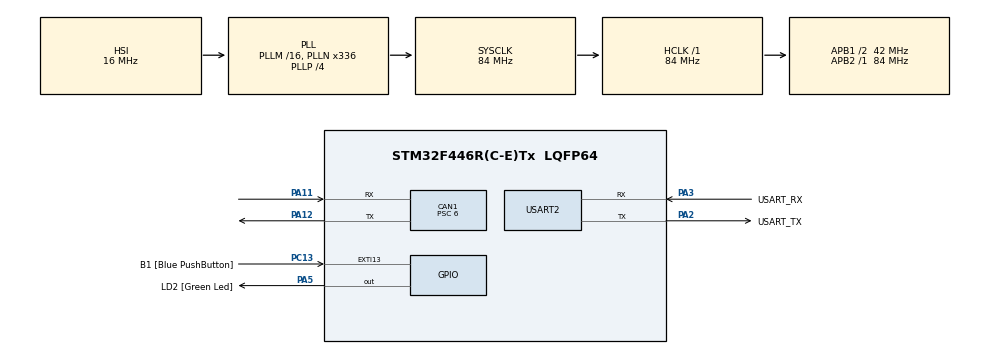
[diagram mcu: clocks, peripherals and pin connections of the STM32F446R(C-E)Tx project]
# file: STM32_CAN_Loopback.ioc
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CAN1.BS1=CAN_BS1_11TQ
CAN1.BS2=CAN_BS2_2TQ
CAN1.CalculateBaudRate=500000
CAN1.CalculateTimeBit=2000
CAN1.CalculateTimeQuantum=142.85714285714286
CAN1.Mode=CAN_MODE_LOOPBACK
CAN1.NART=DISABLE
CAN1.Prescaler=6
Mcu.Family=STM32F4
Mcu.Name=STM32F446R(C-E)Tx
Mcu.Package=LQFP64
NVIC.CAN1_RX0_IRQn=true\:0\:0\:false\:false\:true\:true\:true\:true
NVIC.PriorityGroup=NVIC_PRIORITYGROUP_0
PA11.GPIO_PuPd=GPIO_PULLUP
PA11.Mode=CAN_Activate
PA11.Signal=CAN1_RX
PA12.GPIO_PuPd=GPIO_PULLUP
PA12.Mode=CAN_Activate
PA12.Signal=CAN1_TX
PA13.GPIO_Label=TMS
PA13.Mode=Serial_Wire
PA13.Signal=SYS_JTMS-SWDIO
PA14.GPIO_Label=TCK
PA14.Mode=Serial_Wire
PA14.Signal=SYS_JTCK-SWCLK
PA2.GPIO_Label=USART_TX
PA2.Mode=Asynchronous
PA2.Signal=USART2_TX
PA3.GPIO_Label=USART_RX
PA3.Mode=Asynchronous
PA3.Signal=USART2_RX
PA5.GPIO_Label=LD2 [Green Led]
PA5.Signal=GPIO_Output
PB3.GPIO_Label=SWO
PB3.Signal=SYS_JTDO-SWO
PC13.GPIO_Label=B1 [Blue PushButton]
PC13.GPIO_ModeDefaultEXTI=GPIO_MODE_IT_FALLING
PC13.Signal=GPXTI13
PC14-OSC32_IN.Mode=LSE-External-Oscillator
PC14-OSC32_IN.Signal=RCC_OSC32_IN
PC15-OSC32_OUT.Mode=LSE-External-Oscillator
PC15-OSC32_OUT.Signal=RCC_OSC32_OUT
PH0-OSC_IN.Mode=HSE-External-Oscillator
PH0-OSC_IN.Signal=RCC_OSC_IN
PH1-OSC_OUT.Mode=HSE-External-Oscillator
PH1-OSC_OUT.Signal=RCC_OSC_OUT
ProjectManager.HeapSize=0x200
ProjectManager.StackSize=0x400
ProjectManager.TargetToolchain=STM32CubeIDE
RCC.48MHZClocksFreq_Value=84000000
RCC.AHBFreq_Value=84000000
RCC.APB1CLKDivider=RCC_HCLK_DIV2
RCC.APB1Freq_Value=42000000
RCC.APB1TimFreq_Value=84000000
RCC.APB2Freq_Value=84000000
RCC.APB2TimFreq_Value=84000000
RCC.CortexFreq_Value=84000000
RCC.FLatency-AdvancedSettings=FLASH_LATENCY_2
RCC.HCLKFreq_Value=84000000
RCC.HSE_VALUE=8000000
RCC.HSI_VALUE=16000000
RCC.PLLN=336
RCC.PLLP=RCC_PLLP_DIV4
RCC.SYSCLKFreq_VALUE=84000000
RCC.SYSCLKSource=RCC_SYSCLKSOURCE_PLLCLK
RCC.USBFreq_Value=168000000
RCC.VCOOutputFreq_Value=336000000
USART2.VirtualMode=VM_ASYNC
board=NUCLEO-F446RE

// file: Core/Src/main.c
/* USER CODE BEGIN Header */
/**
  ******************************************************************************
  * @file           : main.c
  * @brief          : Main program body
  ******************************************************************************
  * @attention
  *
  * Copyright (c) 2026 STMicroelectronics.
  * All rights reserved.
  *
  * This software is licensed under terms that can be found in the LICENSE file
  * in the root directory of this software component.
  * If no LICENSE file comes with this software, it is provided AS-IS.
  *
  ******************************************************************************
  */
/* USER CODE END Header */
#include "main.h"

CAN_HandleTypeDef hcan1;

UART_HandleTypeDef huart2;

/* USER CODE BEGIN PV */

/* PREPARATION DE LA TRAME CAN */
CAN_TxHeaderTypeDef TxHeader;		// EN-TETE DE LA TRAME Tx
//CAN_RxHeaderTypeDef RxHeader;		// EN-TETE DE LA TRAME Rx

uint8_t TxData[8] = {
    0x10, 0x20, 0x30, 0x40,
    0x50, 0x60, 0x70, 0x80
};
//uint8_t RxData[8];

uint32_t TxMailbox;

//volatile uint32_t RxInterruptCount = 0;
//volatile uint8_t rxMessageReady = 0;

/* CIRCULAR QUEUE */
#define CAN_RX_QUEUE_SIZE 8

typedef struct
{
	CAN_RxHeaderTypeDef Header;
	uint8_t Data[8];
} CAN_Message_t;

CAN_Message_t RxQueue[CAN_RX_QUEUE_SIZE];

volatile uint8_t RxQueueHead = 0;
volatile uint8_t RxQueueTail = 0;

/* USER CODE END PV */

void SystemClock_Config(void);
static void MX_GPIO_Init(void);
static void MX_USART2_UART_Init(void);
static void MX_CAN1_Init(void);

int main(void)
{

  /* MCU Configuration--------------------------------------------------------*/

  /* Reset of all peripherals, Initializes the Flash interface and the Systick. */
  HAL_Init();

  /* Configure the system clock */
  SystemClock_Config();

  /* Initialize all configured peripherals */
  MX_GPIO_Init();
  MX_USART2_UART_Init();
  MX_CAN1_Init();
  /* USER CODE BEGIN 2 */

  if (HAL_CAN_Start(&hcan1) != HAL_OK)
  {
      Error_Handler();
  }

  /* INTERUPTION METHODE - MSG RECEPTION NOTIFICATION */
  if (HAL_CAN_ActivateNotification(&hcan1,
                                   CAN_IT_RX_FIFO0_MSG_PENDING) != HAL_OK)
  {
      Error_Handler();
  }

  /* TRANSMITION CONFIG */
  TxHeader.StdId = 0x123;
  TxHeader.ExtId = 0;
  TxHeader.IDE = CAN_ID_STD;
  TxHeader.RTR = CAN_RTR_DATA;
  TxHeader.DLC = 8;
  TxHeader.TransmitGlobalTime = DISABLE;

  /* USER CODE END 2 */

  /* Infinite loop */
  /* USER CODE BEGIN WHILE */
  while (1)
  {

	  /* MESSAGE SEND */
	  if (HAL_CAN_AddTxMessage(&hcan1,
	                           &TxHeader,
	                           TxData,
	                           &TxMailbox) != HAL_OK)
	  {
	      Error_Handler();
	  }

	/* CHECK RX QUEUE */
	if (RxQueueHead != RxQueueTail)
	{
		CAN_Message_t message;

		message = RxQueue[RxQueueTail];

		RxQueueTail = (RxQueueTail + 1) % CAN_RX_QUEUE_SIZE;

		/* PRECESSING Rx MESSAGES */
	}

	  /* INCREMENTAL DATA */
	  for(int i=0; i<8 ; i++)
	  {
		  TxData[i]++;
	  }

	  HAL_Delay(1000);

    /* USER CODE END WHILE */

  }
}

void SystemClock_Config(void)
{
  RCC_OscInitTypeDef RCC_OscInitStruct = {0};
  RCC_ClkInitTypeDef RCC_ClkInitStruct = {0};

  /** Configure the main internal regulator output voltage
  */
  __HAL_RCC_PWR_CLK_ENABLE();
  __HAL_PWR_VOLTAGESCALING_CONFIG(PWR_REGULATOR_VOLTAGE_SCALE3);

  /** Initializes the RCC Oscillators according to the specified parameters
  * in the RCC_OscInitTypeDef structure.
  */
  RCC_OscInitStruct.OscillatorType = RCC_OSCILLATORTYPE_HSI;
  RCC_OscInitStruct.HSIState = RCC_HSI_ON;
  RCC_OscInitStruct.HSICalibrationValue = RCC_HSICALIBRATION_DEFAULT;
  RCC_OscInitStruct.PLL.PLLState = RCC_PLL_ON;
  RCC_OscInitStruct.PLL.PLLSource = RCC_PLLSOURCE_HSI;
  RCC_OscInitStruct.PLL.PLLM = 16;
  RCC_OscInitStruct.PLL.PLLN = 336;
  RCC_OscInitStruct.PLL.PLLP = RCC_PLLP_DIV4;
  RCC_OscInitStruct.PLL.PLLQ = 2;
  RCC_OscInitStruct.PLL.PLLR = 2;
  if (HAL_RCC_OscConfig(&RCC_OscInitStruct) != HAL_OK)
  {
    Error_Handler();
  }

  /** Initializes the CPU, AHB and APB buses clocks
  */
  RCC_ClkInitStruct.ClockType = RCC_CLOCKTYPE_HCLK|RCC_CLOCKTYPE_SYSCLK
                              |RCC_CLOCKTYPE_PCLK1|RCC_CLOCKTYPE_PCLK2;
  RCC_ClkInitStruct.SYSCLKSource = RCC_SYSCLKSOURCE_PLLCLK;
  RCC_ClkInitStruct.AHBCLKDivider = RCC_SYSCLK_DIV1;
  RCC_ClkInitStruct.APB1CLKDivider = RCC_HCLK_DIV2;
  RCC_ClkInitStruct.APB2CLKDivider = RCC_HCLK_DIV1;

  if (HAL_RCC_ClockConfig(&RCC_ClkInitStruct, FLASH_LATENCY_2) != HAL_OK)
  {
    Error_Handler();
  }
}

static void MX_CAN1_Init(void)
{

  hcan1.Instance = CAN1;
  hcan1.Init.Prescaler = 6;
  hcan1.Init.Mode = CAN_MODE_LOOPBACK;
  hcan1.Init.SyncJumpWidth = CAN_SJW_1TQ;
  hcan1.Init.TimeSeg1 = CAN_BS1_11TQ;
  hcan1.Init.TimeSeg2 = CAN_BS2_2TQ;
  hcan1.Init.TimeTriggeredMode = DISABLE;
  hcan1.Init.AutoBusOff = DISABLE;
  hcan1.Init.AutoWakeUp = DISABLE;
  hcan1.Init.AutoRetransmission = DISABLE;
  hcan1.Init.ReceiveFifoLocked = DISABLE;
  hcan1.Init.TransmitFifoPriority = DISABLE;
  if (HAL_CAN_Init(&hcan1) != HAL_OK)
  {
    Error_Handler();
  }
  /* USER CODE BEGIN CAN1_Init 2 */

  /*
   * Si vous utilisez la bibliothèque HAL (HAL_CAN_ConfigFilter),
   * la structure découpe le registre 32 bits en deux variables de 16 bits :
   * FilterIdHigh (bits 31:16) et FilterIdLow (bits 15:0).
   * l'identifiant CAN standard de 11 bits est placé dans les bits 31:21 du registre de filtre.
   */

  CAN_FilterTypeDef sFilterConfig;

  sFilterConfig.FilterActivation = ENABLE;

  sFilterConfig.FilterBank = 0;
  sFilterConfig.FilterMode = CAN_FILTERMODE_IDMASK;
  sFilterConfig.FilterScale = CAN_FILTERSCALE_32BIT;

  /* FILTER ACCEPT ALL */
   sFilterConfig.FilterIdHigh = 0x0000;
   sFilterConfig.FilterIdLow = 0x0000;

   sFilterConfig.FilterMaskIdHigh = 0x0000;
   sFilterConfig.FilterMaskIdLow = 0x0000;

  /* FILTER ACCEPT ONLY 0x123 */
  /*
  sFilterConfig.FilterIdHigh = 0x2460; 		// ID 0x123 << 5
  sFilterConfig.FilterIdLow = 0x0000;

  sFilterConfig.FilterMaskIdHigh = 0xFFE0;		// MASK 0x7FF << 5
  sFilterConfig.FilterMaskIdLow = 0x0000;
  */

  sFilterConfig.FilterFIFOAssignment = CAN_RX_FIFO0;

  sFilterConfig.SlaveStartFilterBank = 14;

  if (HAL_CAN_ConfigFilter(&hcan1, &sFilterConfig) != HAL_OK)
  {
      Error_Handler();
  }

  /* USER CODE END CAN1_Init 2 */

}

static void MX_USART2_UART_Init(void)
{

  huart2.Instance = USART2;
  huart2.Init.BaudRate = 115200;
  huart2.Init.WordLength = UART_WORDLENGTH_8B;
  huart2.Init.StopBits = UART_STOPBITS_1;
  huart2.Init.Parity = UART_PARITY_NONE;
  huart2.Init.Mode = UART_MODE_TX_RX;
  huart2.Init.HwFlowCtl = UART_HWCONTROL_NONE;
  huart2.Init.OverSampling = UART_OVERSAMPLING_16;
  if (HAL_UART_Init(&huart2) != HAL_OK)
  {
    Error_Handler();
  }

}

static void MX_GPIO_Init(void)
{
  GPIO_InitTypeDef GPIO_InitStruct = {0};

  /* GPIO Ports Clock Enable */
  __HAL_RCC_GPIOC_CLK_ENABLE();
  __HAL_RCC_GPIOH_CLK_ENABLE();
  __HAL_RCC_GPIOA_CLK_ENABLE();
  __HAL_RCC_GPIOB_CLK_ENABLE();

  /*Configure GPIO pin Output Level */
  HAL_GPIO_WritePin(LD2_GPIO_Port, LD2_Pin, GPIO_PIN_RESET);

  /*Configure GPIO pin : B1_Pin */
  GPIO_InitStruct.Pin = B1_Pin;
  GPIO_InitStruct.Mode = GPIO_MODE_IT_FALLING;
  GPIO_InitStruct.Pull = GPIO_NOPULL;
  HAL_GPIO_Init(B1_GPIO_Port, &GPIO_InitStruct);

  /*Configure GPIO pin : LD2_Pin */
  GPIO_InitStruct.Pin = LD2_Pin;
  GPIO_InitStruct.Mode = GPIO_MODE_OUTPUT_PP;
  GPIO_InitStruct.Pull = GPIO_NOPULL;
  GPIO_InitStruct.Speed = GPIO_SPEED_FREQ_LOW;
  HAL_GPIO_Init(LD2_GPIO_Port, &GPIO_InitStruct);

}

/* USER CODE BEGIN 4 */

/* INTERUPTION RECEPTION */
void HAL_CAN_RxFifo0MsgPendingCallback(CAN_HandleTypeDef *hcan)
{
    if (hcan->Instance == CAN1)
    {
        uint8_t nextHead;

        nextHead = (RxQueueHead + 1) % CAN_RX_QUEUE_SIZE;

        if (nextHead != RxQueueTail)
        {
            HAL_CAN_GetRxMessage(hcan,
                                 CAN_RX_FIFO0,
                                 &RxQueue[RxQueueHead].Header,
                                 RxQueue[RxQueueHead].Data);

            RxQueueHead = nextHead;
        }
        else
        {
            /* Full Queue */
        }
    }
}

/* USER CODE END 4 */

void Error_Handler(void)
{
  __disable_irq();
  while (1)
  {
  }
}
